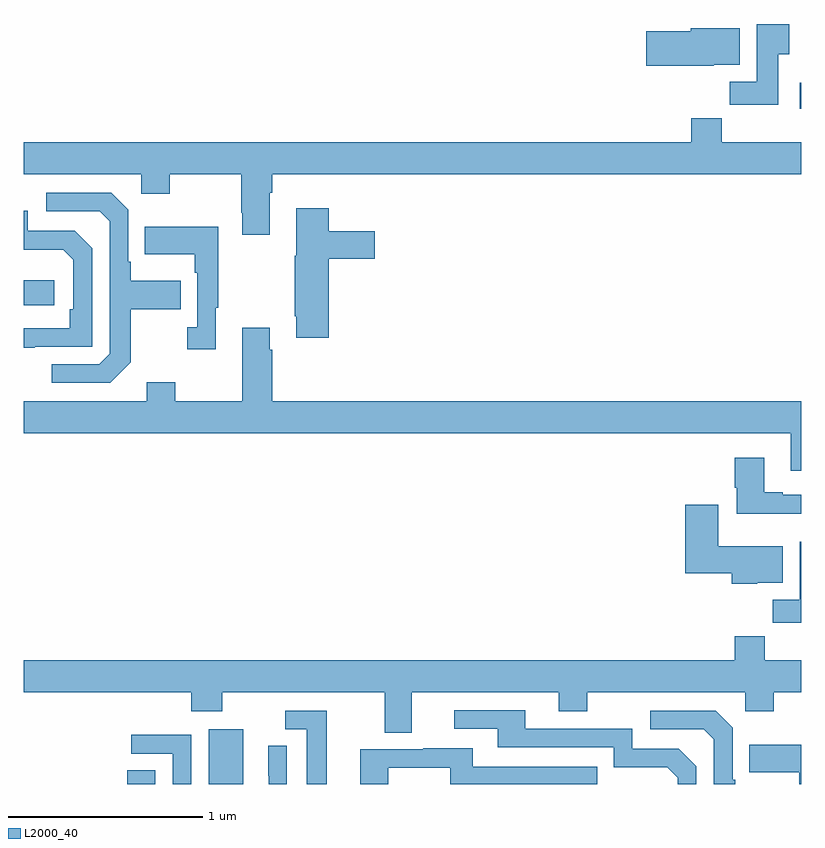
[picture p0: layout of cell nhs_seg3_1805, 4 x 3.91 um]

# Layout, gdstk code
import gdstk
lib = gdstk.Library(unit=1e-6, precision=1e-09)
def R(c, l, rs):  # rectangles x0, y0, x1, y1
    for r in rs: c.add(gdstk.rectangle(r[:2], r[2:], *l))
def P(c, l, *ps):  # polygons
    for p in ps: c.add(gdstk.Polygon(p, *l))
L2000_40 = (2000, 40)

nhs_seg3_1805 = lib.new_cell('nhs_seg3_1805')
R(nhs_seg3_1805, L2000_40, [(203.534,744.4,203.677,744.47), (203.951,744.4,204.13,744.682), (203,746.862,203.158,746.992), (206.991,747.872,207,748.006)])
P(nhs_seg3_1805, L2000_40, [(206.881,748.153),(206.938,748.153),(206.938,748.309),(206.771,748.309),(206.771,748.012),(206.632,748.012),(206.632,747.894),(206.881,747.894)],
  [(206.55,748.1),(206.683,748.1),(206.683,748.288),(206.432,748.288),(206.432,748.271),(206.202,748.271),(206.202,748.094),(206.55,748.094)],
  [(204.265,747.44),(204.278,747.44),(204.278,747.536),(207,747.536),(207,747.7),(206.591,747.7),(206.591,747.824),(206.435,747.824),(206.435,747.7),(203,747.7),(203,747.536),(203.604,747.536),(203.604,747.437),(203.751,747.437),(203.751,747.536),(204.118,747.536),(204.118,747.337),(204.125,747.337),(204.125,747.225),(204.265,747.225)],
  [(203.551,746.569),(203.551,746.842),(203.807,746.842),(203.807,746.989),(203.551,746.989),(203.551,747.085),(203.538,747.085),(203.538,747.354),(203.451,747.441),(203.115,747.441),(203.115,747.345),(203.391,747.345),(203.442,747.294),(203.442,746.613),(203.388,746.559),(203.145,746.559),(203.145,746.463),(203.445,746.463)],
  [(204.569,747.101),(204.805,747.101),(204.805,747.243),(204.569,747.243),(204.569,747.361),(204.401,747.361),(204.401,747.117),(204.394,747.117),(204.394,746.806),(204.401,746.806),(204.401,746.694),(204.569,746.694)],
  [(203.057,746.649),(203.352,746.649),(203.352,747.156),(203.262,747.246),(203.022,747.246),(203.022,747.348),(203,747.348),(203,747.149),(203.203,747.149),(203.256,747.096),(203.256,746.842),(203.236,746.842),(203.236,746.745),(203,746.745),(203,746.644),(203.057,746.644)],
  [(203.989,746.849),(204.001,746.849),(204.001,747.265),(203.623,747.265),(203.623,747.125),(203.88,747.125),(203.88,747.029),(203.892,747.029),(203.892,746.75),(203.841,746.75),(203.841,746.637),(203.989,746.637)],
  [(207,746.368),(204.278,746.368),(204.278,746.633),(204.265,746.633),(204.265,746.746),(204.125,746.746),(204.125,746.368),(203.781,746.368),(203.781,746.467),(203.633,746.467),(203.633,746.368),(203,746.368),(203,746.204),(206.945,746.204),(206.945,746.01),(207,746.01)],
  [(207,745.887),(206.905,745.887),(206.905,745.9),(206.809,745.9),(206.809,746.077),(206.657,746.077),(206.657,745.924),(206.669,745.924),(206.669,745.79),(207,745.79)],
  [(206.772,745.436),(206.905,745.436),(206.905,745.624),(206.572,745.624),(206.572,745.837),(206.402,745.837),(206.402,745.484),(206.642,745.484),(206.642,745.43),(206.772,745.43)],
  [(207,745.645),(206.993,745.645),(206.993,745.348),(206.854,745.348),(206.854,745.23),(207,745.23)],
  [(204.997,744.872),(205.751,744.872),(205.751,744.773),(205.899,744.773),(205.899,744.872),(206.712,744.872),(206.712,744.773),(206.859,744.773),(206.859,744.872),(207,744.872),(207,745.036),(206.813,745.036),(206.813,745.16),(206.657,745.16),(206.657,745.036),(203,745.036),(203,744.872),(203.861,744.872),(203.861,744.773),(204.021,744.773),(204.021,744.872),(204.857,744.872),(204.857,744.664),(204.997,744.664)],
  [(206.46,744.492),(206.37,744.582),(206.13,744.582),(206.13,744.684),(205.579,744.684),(205.579,744.78),(205.215,744.78),(205.215,744.684),(205.439,744.684),(205.439,744.588),(206.034,744.588),(206.034,744.485),(206.311,744.485),(206.364,744.432),(206.364,744.4),(206.46,744.4)],
  [(206.659,744.421),(206.646,744.421),(206.646,744.69),(206.559,744.777),(206.223,744.777),(206.223,744.681),(206.499,744.681),(206.55,744.63),(206.55,744.4),(206.659,744.4)],
  [(204.559,744.777),(204.345,744.777),(204.345,744.681),(204.455,744.681),(204.455,744.4),(204.559,744.4)],
  [(203.862,744.654),(203.553,744.654),(203.553,744.555),(203.766,744.555),(203.766,744.4),(203.862,744.4)],
  [(207,744.601),(206.731,744.601),(206.731,744.461),(206.988,744.461),(206.988,744.4),(207,744.4)],
  [(204.354,744.596),(204.258,744.596),(204.258,744.442),(204.26,744.442),(204.26,744.4),(204.354,744.4)],
  [(204.876,744.483),(205.194,744.483),(205.194,744.4),(205.949,744.4),(205.949,744.489),(205.309,744.489),(205.309,744.583),(205.055,744.583),(205.055,744.579),(204.731,744.579),(204.731,744.4),(204.876,744.4)])

lib.write_gds('nhs_seg3_1805.gds')
